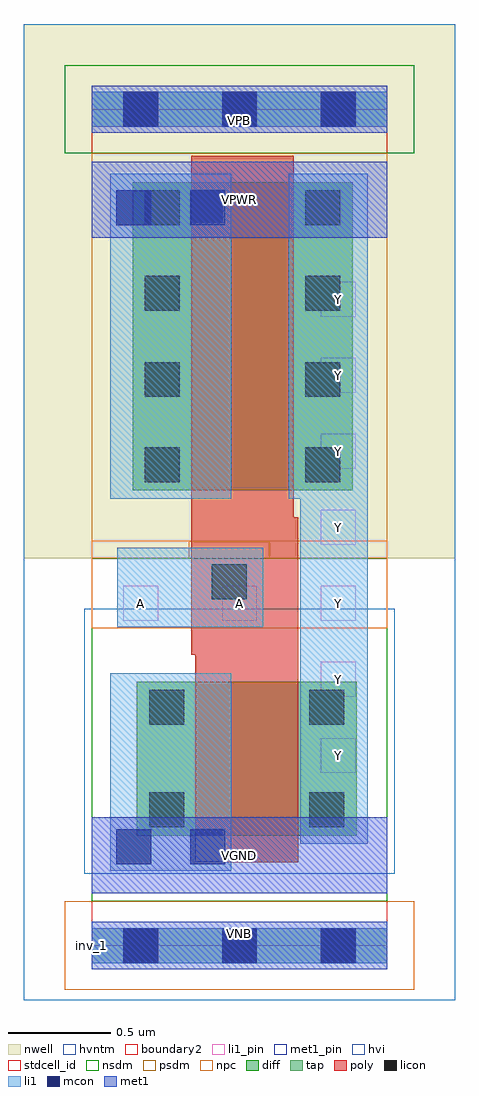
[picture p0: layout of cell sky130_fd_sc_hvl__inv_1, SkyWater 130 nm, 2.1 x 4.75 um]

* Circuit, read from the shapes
.subckt sky130_fd_sc_hvl__inv_1 A VGND VNB VPB VPWR Y
XM1 Y A VGND VNB sky130_fd_pr__nfet_g5v0d10v5 w=0.75 l=0.5
XM2 Y A VPWR VPB sky130_fd_pr__pfet_g5v0d10v5 w=1.5 l=0.5
.ends

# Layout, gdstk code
import gdstk
lib = gdstk.Library(unit=1e-6, precision=1e-09)
def R(c, l, rs):  # rectangles x0, y0, x1, y1
    for r in rs: c.add(gdstk.rectangle(r[:2], r[2:], *l))
def A(c, l, x, y, w, h, nx, ny, dx, dy):  # array of equal rectangles
    R(c, l, [(x+i*dx, y+j*dy, x+i*dx+w, y+j*dy+h) for i in range(nx) for j in range(ny)])
def P(c, l, *ps):  # polygons
    for p in ps: c.add(gdstk.Polygon(p, *l))
nwell = (64, 20)
diff = (65, 20)
tap = (65, 44)
poly = (66, 20)
licon = (66, 44)
li1_pin = (67, 16)
li1 = (67, 20)
mcon = (67, 44)
met1_pin = (68, 16)
met1 = (68, 20)
hvi = (75, 20)
stdcell_id = (81, 4)
nsdm = (93, 44)
psdm = (94, 20)
npc = (95, 20)
hvntm = (125, 20)
boundary2 = (236, 0)

sky130_fd_sc_hvl__inv_1 = lib.new_cell('sky130_fd_sc_hvl__inv_1')
R(sky130_fd_sc_hvl__inv_1, nwell, [(-0.33,1.885,1.77,4.485)])
R(sky130_fd_sc_hvl__inv_1, diff, [(0.22,0.535,1.29,1.285), (0.2,2.215,1.27,3.715)])
R(sky130_fd_sc_hvl__inv_1, tap, [(0,-0.085,1.44,0.085), (0,3.985,1.44,4.155)])
P(sky130_fd_sc_hvl__inv_1, poly, [(0.505,0.405),(0.505,1.415),(0.485,1.415),(0.485,3.845),(0.985,3.845),(0.985,2.085),(1.005,2.085),(1.005,0.405)])
A(sky130_fd_sc_hvl__inv_1, licon, 0.155, -0.085, 0.17, 0.17, 3, 2, 0.48, 4.07)
R(sky130_fd_sc_hvl__inv_1, licon, [(0.28,0.575,0.45,0.745), (1.06,0.575,1.23,0.745), (0.28,1.075,0.45,1.245), (1.06,1.075,1.23,1.245), (0.585,1.685,0.755,1.855), (0.26,2.255,0.43,2.425), (1.04,2.255,1.21,2.425), (0.26,2.67,0.43,2.84), (1.04,2.67,1.21,2.84), (0.26,3.09,0.43,3.26), (1.04,3.09,1.21,3.26), (0.26,3.505,0.43,3.675), (1.04,3.505,1.21,3.675)])
A(sky130_fd_sc_hvl__inv_1, li1_pin, 0.155, 1.58, 0.17, 0.17, 3, 1, 0.48, 0)
A(sky130_fd_sc_hvl__inv_1, li1_pin, 1.115, 1.95, 0.17, 0.17, 1, 4, 0, 0.37)
R(sky130_fd_sc_hvl__inv_1, li1_pin, [(1.115,0.84,1.285,1.01), (1.115,1.21,1.285,1.38)])
R(sky130_fd_sc_hvl__inv_1, li1, [(0,-0.085,1.44,0.085), (0.09,0.365,0.68,1.325), (0.125,1.55,0.835,1.935), (0.09,2.175,0.68,3.755), (0,3.985,1.44,4.155)])
P(sky130_fd_sc_hvl__inv_1, li1, [(1.015,0.495),(1.015,2.175),(0.96,2.175),(0.96,3.755),(1.345,3.755),(1.345,0.495)])
R(sky130_fd_sc_hvl__inv_1, mcon, [(0.155,-0.085,0.325,0.085), (0.155,-0.085,0.325,0.085), (0.635,-0.085,0.805,0.085), (0.635,-0.085,0.805,0.085), (1.115,-0.085,1.285,0.085), (1.115,-0.085,1.285,0.085), (0.12,0.395,0.29,0.565), (0.48,0.395,0.65,0.565), (0.12,3.505,0.29,3.675), (0.48,3.505,0.65,3.675), (0.155,3.985,0.325,4.155), (0.155,3.985,0.325,4.155), (0.635,3.985,0.805,4.155), (0.635,3.985,0.805,4.155), (1.115,3.985,1.285,4.155), (1.115,3.985,1.285,4.155)])
R(sky130_fd_sc_hvl__inv_1, met1_pin, [(0,0,1.44,0.115), (0,0.255,1.44,0.625), (0,3.445,1.44,3.815), (0,3.955,1.44,4.07)])
R(sky130_fd_sc_hvl__inv_1, met1, [(0,-0.115,1.44,0.115), (0,0.255,1.44,0.625), (0,3.445,1.44,3.815), (0,3.955,1.44,4.185)])
R(sky130_fd_sc_hvl__inv_1, hvi, [(-0.33,-0.265,1.77,4.485)])
R(sky130_fd_sc_hvl__inv_1, stdcell_id, [(0,0,1.44,4.07)])
R(sky130_fd_sc_hvl__inv_1, nsdm, [(0,0.215,1.44,1.885), (-0.13,3.855,1.57,4.285), (0,3.855,1.44,4.07)])
R(sky130_fd_sc_hvl__inv_1, psdm, [(-0.13,-0.215,1.57,0.215)])
P(sky130_fd_sc_hvl__inv_1, psdm, [(0,1.885),(0,3.855),(1.44,3.855),(1.44,1.885),(0.865,1.885),(0.865,1.965),(0.475,1.965),(0.475,1.885)])
R(sky130_fd_sc_hvl__inv_1, npc, [(0,1.545,1.44,1.97)])
R(sky130_fd_sc_hvl__inv_1, hvntm, [(-0.035,0.35,1.475,1.64)])
R(sky130_fd_sc_hvl__inv_1, boundary2, [(0,0,1.44,4.07)])
sky130_fd_sc_hvl__inv_1.add(gdstk.Label('inv_1', (0,0), layer=83, texttype=44))
sky130_fd_sc_hvl__inv_1.add(gdstk.Label('VGND', (0.72,0.44), layer=68, texttype=5))
sky130_fd_sc_hvl__inv_1.add(gdstk.Label('VNB', (0.72,0.058), layer=68, texttype=5))
sky130_fd_sc_hvl__inv_1.add(gdstk.Label('VPWR', (0.72,3.63), layer=68, texttype=5))
sky130_fd_sc_hvl__inv_1.add(gdstk.Label('VPB', (0.72,4.013), layer=68, texttype=5))
sky130_fd_sc_hvl__inv_1.add(gdstk.Label('A', (0.24,1.665), layer=67, texttype=5))
sky130_fd_sc_hvl__inv_1.add(gdstk.Label('A', (0.72,1.665), layer=67, texttype=5))
sky130_fd_sc_hvl__inv_1.add(gdstk.Label('Y', (1.2,0.925), layer=67, texttype=5))
sky130_fd_sc_hvl__inv_1.add(gdstk.Label('Y', (1.2,1.295), layer=67, texttype=5))
sky130_fd_sc_hvl__inv_1.add(gdstk.Label('Y', (1.2,1.665), layer=67, texttype=5))
sky130_fd_sc_hvl__inv_1.add(gdstk.Label('Y', (1.2,2.035), layer=67, texttype=5))
sky130_fd_sc_hvl__inv_1.add(gdstk.Label('Y', (1.2,2.405), layer=67, texttype=5))
sky130_fd_sc_hvl__inv_1.add(gdstk.Label('Y', (1.2,2.775), layer=67, texttype=5))
sky130_fd_sc_hvl__inv_1.add(gdstk.Label('Y', (1.2,3.145), layer=67, texttype=5))

lib.write_gds('sky130_fd_sc_hvl__inv_1.gds')
